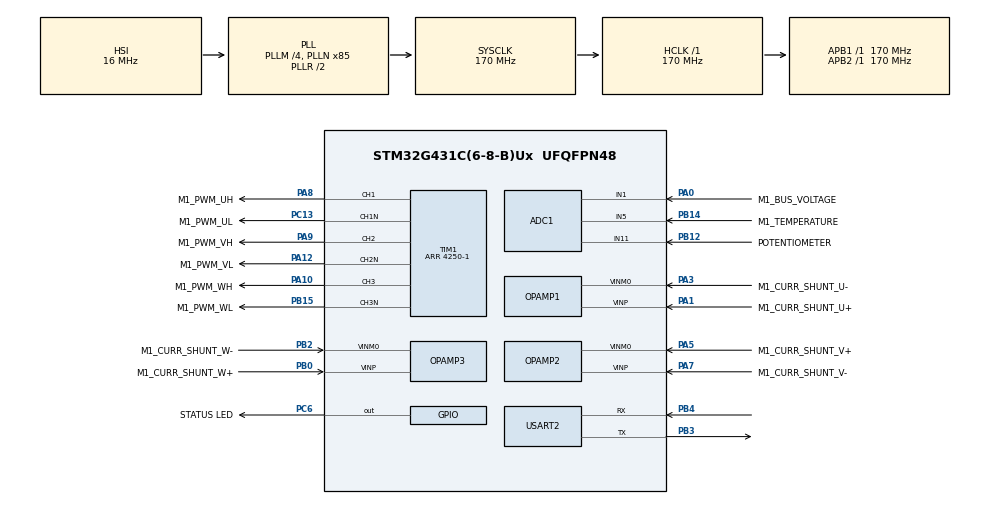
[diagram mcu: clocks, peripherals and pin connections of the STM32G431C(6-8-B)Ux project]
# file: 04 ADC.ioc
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ADC1.Channel-0\#ChannelRegularConversion=ADC_CHANNEL_1
ADC1.Channel-1\#ChannelRegularConversion=ADC_CHANNEL_5
ADC1.Channel-2\#ChannelRegularConversion=ADC_CHANNEL_VOPAMP1
ADC1.Channel-3\#ChannelRegularConversion=ADC_CHANNEL_11
ADC1.DMAContinuousRequests=ENABLE
ADC1.EOCSelection=ADC_EOC_SEQ_CONV
ADC1.ExternalTrigConv=ADC_EXTERNALTRIG_T1_TRGO2
ADC1.NbrOfConversion=4
ADC1.NbrOfConversionFlag=1
ADC1.OffsetNumber-0\#ChannelRegularConversion=ADC_OFFSET_NONE
ADC1.OffsetNumber-1\#ChannelRegularConversion=ADC_OFFSET_NONE
ADC1.OffsetNumber-2\#ChannelRegularConversion=ADC_OFFSET_NONE
ADC1.OffsetNumber-3\#ChannelRegularConversion=ADC_OFFSET_NONE
ADC1.Rank-0\#ChannelRegularConversion=1
ADC1.Rank-1\#ChannelRegularConversion=2
ADC1.Rank-2\#ChannelRegularConversion=3
ADC1.Rank-3\#ChannelRegularConversion=4
ADC1.SamplingTime-0\#ChannelRegularConversion=ADC_SAMPLETIME_47CYCLES_5
ADC1.SamplingTime-1\#ChannelRegularConversion=ADC_SAMPLETIME_47CYCLES_5
ADC1.SamplingTime-2\#ChannelRegularConversion=ADC_SAMPLETIME_12CYCLES_5
ADC1.SamplingTime-3\#ChannelRegularConversion=ADC_SAMPLETIME_47CYCLES_5
ADC1.master=1
ADC2.Channel-0\#ChannelRegularConversion=ADC_CHANNEL_VOPAMP2
ADC2.Channel-1\#ChannelRegularConversion=ADC_CHANNEL_VOPAMP3_ADC2
ADC2.DMAContinuousRequests=ENABLE
ADC2.EOCSelection=ADC_EOC_SEQ_CONV
ADC2.EnableAnalogWatchDog3=false
ADC2.ExternalTrigConv=ADC_EXTERNALTRIG_T1_TRGO2
ADC2.NbrOfConversion=2
ADC2.NbrOfConversionFlag=1
ADC2.OffsetNumber-0\#ChannelRegularConversion=ADC_OFFSET_NONE
ADC2.OffsetNumber-1\#ChannelRegularConversion=ADC_OFFSET_NONE
ADC2.Rank-0\#ChannelRegularConversion=1
ADC2.Rank-1\#ChannelRegularConversion=2
ADC2.SamplingTime-0\#ChannelRegularConversion=ADC_SAMPLETIME_12CYCLES_5
ADC2.SamplingTime-1\#ChannelRegularConversion=ADC_SAMPLETIME_12CYCLES_5
Dma.ADC1.2.Direction=DMA_PERIPH_TO_MEMORY
Dma.ADC1.2.EventEnable=DISABLE
Dma.ADC1.2.Instance=DMA1_Channel3
Dma.ADC1.2.MemDataAlignment=DMA_MDATAALIGN_HALFWORD
Dma.ADC1.2.MemInc=DMA_MINC_ENABLE
Dma.ADC1.2.Mode=DMA_CIRCULAR
Dma.ADC1.2.PeriphDataAlignment=DMA_PDATAALIGN_HALFWORD
Dma.ADC1.2.PeriphInc=DMA_PINC_DISABLE
Dma.ADC1.2.Polarity=HAL_DMAMUX_REQ_GEN_RISING
Dma.ADC1.2.Priority=DMA_PRIORITY_HIGH
Dma.ADC1.2.RequestNumber=1
Dma.ADC1.2.SignalID=NONE
Dma.ADC1.2.SyncEnable=DISABLE
Dma.ADC1.2.SyncPolarity=HAL_DMAMUX_SYNC_NO_EVENT
Dma.ADC1.2.SyncRequestNumber=1
Dma.ADC1.2.SyncSignalID=NONE
Dma.ADC2.3.Direction=DMA_PERIPH_TO_MEMORY
Dma.ADC2.3.EventEnable=DISABLE
Dma.ADC2.3.Instance=DMA1_Channel4
Dma.ADC2.3.MemDataAlignment=DMA_MDATAALIGN_HALFWORD
Dma.ADC2.3.MemInc=DMA_MINC_ENABLE
Dma.ADC2.3.Mode=DMA_CIRCULAR
Dma.ADC2.3.PeriphDataAlignment=DMA_PDATAALIGN_HALFWORD
Dma.ADC2.3.PeriphInc=DMA_PINC_DISABLE
Dma.ADC2.3.Polarity=HAL_DMAMUX_REQ_GEN_RISING
Dma.ADC2.3.Priority=DMA_PRIORITY_LOW
Dma.ADC2.3.RequestNumber=1
Dma.ADC2.3.SignalID=NONE
Dma.ADC2.3.SyncEnable=DISABLE
Dma.ADC2.3.SyncPolarity=HAL_DMAMUX_SYNC_NO_EVENT
Dma.ADC2.3.SyncRequestNumber=1
Dma.ADC2.3.SyncSignalID=NONE
Dma.Request0=USART2_RX
Dma.Request1=USART2_TX
Dma.Request2=ADC1
Dma.Request3=ADC2
Dma.USART2_RX.0.Direction=DMA_PERIPH_TO_MEMORY
Dma.USART2_RX.0.EventEnable=DISABLE
Dma.USART2_RX.0.Instance=DMA1_Channel1
Dma.USART2_RX.0.MemDataAlignment=DMA_MDATAALIGN_BYTE
Dma.USART2_RX.0.MemInc=DMA_MINC_ENABLE
Dma.USART2_RX.0.Mode=DMA_CIRCULAR
Dma.USART2_RX.0.PeriphDataAlignment=DMA_PDATAALIGN_BYTE
Dma.USART2_RX.0.PeriphInc=DMA_PINC_DISABLE
Dma.USART2_RX.0.Polarity=HAL_DMAMUX_REQ_GEN_RISING
Dma.USART2_RX.0.Priority=DMA_PRIORITY_LOW
Dma.USART2_RX.0.RequestNumber=1
Dma.USART2_RX.0.SignalID=NONE
Dma.USART2_RX.0.SyncEnable=DISABLE
Dma.USART2_RX.0.SyncPolarity=HAL_DMAMUX_SYNC_NO_EVENT
Dma.USART2_RX.0.SyncRequestNumber=1
Dma.USART2_RX.0.SyncSignalID=NONE
Dma.USART2_TX.1.Direction=DMA_MEMORY_TO_PERIPH
Dma.USART2_TX.1.EventEnable=DISABLE
Dma.USART2_TX.1.Instance=DMA1_Channel2
Dma.USART2_TX.1.MemDataAlignment=DMA_MDATAALIGN_BYTE
Dma.USART2_TX.1.MemInc=DMA_MINC_ENABLE
Dma.USART2_TX.1.Mode=DMA_NORMAL
Dma.USART2_TX.1.PeriphDataAlignment=DMA_PDATAALIGN_BYTE
Dma.USART2_TX.1.PeriphInc=DMA_PINC_DISABLE
Dma.USART2_TX.1.Polarity=HAL_DMAMUX_REQ_GEN_RISING
Dma.USART2_TX.1.Priority=DMA_PRIORITY_LOW
Dma.USART2_TX.1.RequestNumber=1
Dma.USART2_TX.1.SignalID=NONE
Dma.USART2_TX.1.SyncEnable=DISABLE
Dma.USART2_TX.1.SyncPolarity=HAL_DMAMUX_SYNC_NO_EVENT
Dma.USART2_TX.1.SyncRequestNumber=1
Dma.USART2_TX.1.SyncSignalID=NONE
Mcu.Family=STM32G4
Mcu.Name=STM32G431C(6-8-B)Ux
Mcu.Package=UFQFPN48
NVIC.ADC1_2_IRQn=true\:0\:0\:false\:false\:true\:true\:true\:true
NVIC.DMA1_Channel1_IRQn=true\:0\:0\:false\:false\:true\:false\:true\:true
NVIC.DMA1_Channel2_IRQn=true\:0\:0\:false\:false\:true\:false\:true\:true
NVIC.DMA1_Channel3_IRQn=true\:0\:0\:false\:false\:true\:false\:true\:true
NVIC.DMA1_Channel4_IRQn=true\:0\:0\:false\:false\:true\:false\:true\:true
NVIC.PriorityGroup=NVIC_PRIORITYGROUP_4
NVIC.TIM1_UP_TIM16_IRQn=true\:0\:0\:false\:false\:true\:true\:true\:true
NVIC.USART2_IRQn=true\:0\:0\:false\:false\:true\:true\:true\:true
OPAMP1.PgaGain=OPAMP_PGA_GAIN_16_OR_MINUS_15
OPAMP2.PgaGain=OPAMP_PGA_GAIN_16_OR_MINUS_15
OPAMP3.PgaGain=OPAMP_PGA_GAIN_16_OR_MINUS_15
PA0.GPIO_Label=M1_BUS_VOLTAGE
PA0.Mode=IN1-Single-Ended
PA0.Signal=ADC1_IN1
PA1.GPIO_Label=M1_CURR_SHUNT_U+
PA1.Mode=PGA Internally connected_IO0_BIAS
PA1.Signal=OPAMP1_VINP
PA10.GPIO_Label=M1_PWM_WH
PA10.Signal=S_TIM1_CH3
PA12.GPIO_Label=M1_PWM_VL
PA12.Mode=PWM Generation2 CH2 CH2N
PA12.Signal=TIM1_CH2N
PA3.GPIO_Label=M1_CURR_SHUNT_U-
PA3.Mode=PGA Internally connected_IO0_BIAS
PA3.Signal=OPAMP1_VINM0
PA5.GPIO_Label=M1_CURR_SHUNT_V+
PA5.Mode=PGA Internally connected_IO0_BIAS
PA5.Signal=OPAMP2_VINM0
PA7.GPIO_Label=M1_CURR_SHUNT_V-
PA7.Mode=PGA Internally connected_IO0_BIAS
PA7.Signal=OPAMP2_VINP
PA8.GPIO_Label=M1_PWM_UH
PA8.Signal=S_TIM1_CH1
PA9.GPIO_Label=M1_PWM_VH
PA9.Signal=S_TIM1_CH2
PB0.GPIO_Label=M1_CURR_SHUNT_W+
PB0.Mode=PGA Internally connected_IO0_BIAS
PB0.Signal=OPAMP3_VINP
PB12.GPIO_Label=POTENTIOMETER
PB12.Mode=IN11-Single-Ended
PB12.Signal=ADC1_IN11
PB14.GPIO_Label=M1_TEMPERATURE
PB14.Mode=IN5-Single-Ended
PB14.Signal=ADC1_IN5
PB15.GPIO_Label=M1_PWM_WL
PB15.Mode=PWM Generation3 CH3 CH3N
PB15.Signal=TIM1_CH3N
PB2.GPIO_Label=M1_CURR_SHUNT_W-
PB2.Mode=PGA Internally connected_IO0_BIAS
PB2.Signal=OPAMP3_VINM0
PB3.Mode=Asynchronous
PB3.Signal=USART2_TX
PB4.Mode=Asynchronous
PB4.Signal=USART2_RX
PC13.GPIO_Label=M1_PWM_UL
PC13.Mode=PWM Generation1 CH1 CH1N
PC13.Signal=TIM1_CH1N
PC6.GPIO_Label=STATUS LED
PC6.Signal=GPIO_Output
PF0-OSC_IN.Mode=HSE-External-Oscillator
PF0-OSC_IN.Signal=RCC_OSC_IN
PF1-OSC_OUT.Mode=HSE-External-Oscillator
PF1-OSC_OUT.Signal=RCC_OSC_OUT
ProjectManager.HeapSize=0x200
ProjectManager.StackSize=0x400
ProjectManager.TargetToolchain=STM32CubeIDE
RCC.ADC12Freq_Value=170000000
RCC.AHBFreq_Value=170000000
RCC.APB1Freq_Value=170000000
RCC.APB1TimFreq_Value=170000000
RCC.APB2Freq_Value=170000000
RCC.APB2TimFreq_Value=170000000
RCC.CortexFreq_Value=170000000
RCC.EXTERNAL_CLOCK_VALUE=12288000
RCC.HCLKFreq_Value=170000000
RCC.HSE_VALUE=8000000
RCC.HSI48_VALUE=48000000
RCC.HSI_VALUE=16000000
RCC.LSE_VALUE=32768
RCC.PLLM=RCC_PLLM_DIV4
RCC.PLLN=85
RCC.SYSCLKFreq_VALUE=170000000
RCC.SYSCLKSource=RCC_SYSCLKSOURCE_PLLCLK
RCC.USBFreq_Value=170000000
RCC.VCOOutputFreq_Value=340000000
SH.S_TIM1_CH1.0=TIM1_CH1,PWM Generation1 CH1 CH1N
SH.S_TIM1_CH2.0=TIM1_CH2,PWM Generation2 CH2 CH2N
SH.S_TIM1_CH3.0=TIM1_CH3,PWM Generation3 CH3 CH3N
TIM1.Channel-PWM\ Generation1\ CH1\ CH1N=TIM_CHANNEL_1
TIM1.Channel-PWM\ Generation2\ CH2\ CH2N=TIM_CHANNEL_2
TIM1.Channel-PWM\ Generation3\ CH3\ CH3N=TIM_CHANNEL_3
TIM1.Channel-PWM\ Generation4\ No\ Output=TIM_CHANNEL_4
TIM1.CounterMode=TIM_COUNTERMODE_CENTERALIGNED3
TIM1.DeadTime=100
TIM1.PeriodNoDither=4250-1
TIM1.PulseNoDither_1=(4250-1)*3/4
TIM1.PulseNoDither_2=(4250-1)*2/4
TIM1.PulseNoDither_3=(4250-1)*1/4
TIM1.PulseNoDither_4=(4250-1)*9/10
TIM1.TIM_MasterOutputTrigger=TIM_TRGO_RESET
TIM1.TIM_MasterOutputTrigger2=TIM_TRGO2_OC4REF
USART2.VirtualMode-Asynchronous=VM_ASYNC
VP_ADC1_OPAMP_INTERNAL1.Mode=IN-OPAMP1
VP_ADC2_OPAMP_INTERNAL2.Mode=IN-OPAMP2
VP_ADC2_OPAMP_INTERNAL3.Mode=IN-OPAMP3
VP_SYS_VS_DBSignals.Mode=DisableDeadBatterySignals
VP_TIM1_VS_ClockSourceINT.Mode=Internal
VP_TIM1_VS_no_output4.Mode=PWM Generation4 No Output
board=custom

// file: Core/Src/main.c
/* USER CODE BEGIN Header */
/**
  ******************************************************************************
  * @file           : main.c
  * @brief          : Main program body
  ******************************************************************************
  * @attention
  *
  * Copyright (c) 2026 STMicroelectronics.
  * All rights reserved.
  *
  * This software is licensed under terms that can be found in the LICENSE file
  * in the root directory of this software component.
  * If no LICENSE file comes with this software, it is provided AS-IS.
  *
  ******************************************************************************
  */
/* USER CODE END Header */
#include "main.h"

/* USER CODE BEGIN Includes */
#include <stdio.h>

#include "serial.h"
#include "sensor.h"

/* USER CODE END Includes */

ADC_HandleTypeDef hadc1;
ADC_HandleTypeDef hadc2;
DMA_HandleTypeDef hdma_adc1;
DMA_HandleTypeDef hdma_adc2;

OPAMP_HandleTypeDef hopamp1;
OPAMP_HandleTypeDef hopamp2;
OPAMP_HandleTypeDef hopamp3;

TIM_HandleTypeDef htim1;

UART_HandleTypeDef huart2;
DMA_HandleTypeDef hdma_usart2_rx;
DMA_HandleTypeDef hdma_usart2_tx;

void SystemClock_Config(void);
static void MX_GPIO_Init(void);
static void MX_DMA_Init(void);
static void MX_USART2_UART_Init(void);
static void MX_TIM1_Init(void);
static void MX_ADC1_Init(void);
static void MX_OPAMP1_Init(void);
static void MX_OPAMP2_Init(void);
static void MX_OPAMP3_Init(void);
static void MX_ADC2_Init(void);

int main(void)
{

  /* MCU Configuration--------------------------------------------------------*/

  /* Reset of all peripherals, Initializes the Flash interface and the Systick. */
  HAL_Init();

  /* Configure the system clock */
  SystemClock_Config();

  /* Initialize all configured peripherals */
  MX_GPIO_Init();
  MX_DMA_Init();
  MX_USART2_UART_Init();
  MX_TIM1_Init();
  MX_ADC1_Init();
  MX_OPAMP1_Init();
  MX_OPAMP2_Init();
  MX_OPAMP3_Init();
  MX_ADC2_Init();
  /* USER CODE BEGIN 2 */

  // Start everything first (ADC, OPAMP, etc.)
  HAL_OPAMP_Start(&hopamp1);
  HAL_OPAMP_Start(&hopamp2);
  HAL_OPAMP_Start(&hopamp3);

  /* Calibration (Highly recommended for STM32G4) */
  HAL_ADCEx_Calibration_Start(&hadc1, ADC_SINGLE_ENDED);
  HAL_ADCEx_Calibration_Start(&hadc2, ADC_SINGLE_ENDED);

  /* Start the ADCs in DMA Mode NEXT */
  HAL_ADC_Start_DMA(&hadc1, (uint32_t *)ADC1_VAL, 4);
  HAL_ADC_Start_DMA(&hadc2, (uint32_t *)ADC2_VAL, 2);

  Calibrate_All_Offsets();

  /* START TIMER1 */
  HAL_TIM_PWM_Start(&htim1, TIM_CHANNEL_1);
  HAL_TIMEx_PWMN_Start(&htim1, TIM_CHANNEL_1);
  HAL_TIM_PWM_Start(&htim1, TIM_CHANNEL_2);
  HAL_TIMEx_PWMN_Start(&htim1, TIM_CHANNEL_2);
  HAL_TIM_PWM_Start(&htim1, TIM_CHANNEL_3);
  HAL_TIMEx_PWMN_Start(&htim1, TIM_CHANNEL_3);

  /* Start the channel using OC instead of PWM */
  HAL_TIM_OC_Start(&htim1, TIM_CHANNEL_4);

  HAL_TIM_Base_Start_IT(&htim1);				// for TIM16

  // Initialize your DMA UART framework
  UART_DMA_Init();
  UART_DMA_Printf("Enter target RPM: ");
  /* USER CODE END 2 */

  /* Infinite loop */
  /* USER CODE BEGIN WHILE */
  while (1)
  {
    // Continuously poll the buffer for user keyboard input
	  UART_ProcessCommands();

    /* USER CODE END WHILE */

  }
}

void SystemClock_Config(void)
{
  RCC_OscInitTypeDef RCC_OscInitStruct = {0};
  RCC_ClkInitTypeDef RCC_ClkInitStruct = {0};

  /** Configure the main internal regulator output voltage
  */
  HAL_PWREx_ControlVoltageScaling(PWR_REGULATOR_VOLTAGE_SCALE1_BOOST);

  /** Initializes the RCC Oscillators according to the specified parameters
  * in the RCC_OscInitTypeDef structure.
  */
  RCC_OscInitStruct.OscillatorType = RCC_OSCILLATORTYPE_HSI;
  RCC_OscInitStruct.HSIState = RCC_HSI_ON;
  RCC_OscInitStruct.HSICalibrationValue = RCC_HSICALIBRATION_DEFAULT;
  RCC_OscInitStruct.PLL.PLLState = RCC_PLL_ON;
  RCC_OscInitStruct.PLL.PLLSource = RCC_PLLSOURCE_HSI;
  RCC_OscInitStruct.PLL.PLLM = RCC_PLLM_DIV4;
  RCC_OscInitStruct.PLL.PLLN = 85;
  RCC_OscInitStruct.PLL.PLLP = RCC_PLLP_DIV2;
  RCC_OscInitStruct.PLL.PLLQ = RCC_PLLQ_DIV2;
  RCC_OscInitStruct.PLL.PLLR = RCC_PLLR_DIV2;
  if (HAL_RCC_OscConfig(&RCC_OscInitStruct) != HAL_OK)
  {
    Error_Handler();
  }

  /** Initializes the CPU, AHB and APB buses clocks
  */
  RCC_ClkInitStruct.ClockType = RCC_CLOCKTYPE_HCLK|RCC_CLOCKTYPE_SYSCLK
                              |RCC_CLOCKTYPE_PCLK1|RCC_CLOCKTYPE_PCLK2;
  RCC_ClkInitStruct.SYSCLKSource = RCC_SYSCLKSOURCE_PLLCLK;
  RCC_ClkInitStruct.AHBCLKDivider = RCC_SYSCLK_DIV1;
  RCC_ClkInitStruct.APB1CLKDivider = RCC_HCLK_DIV1;
  RCC_ClkInitStruct.APB2CLKDivider = RCC_HCLK_DIV1;

  if (HAL_RCC_ClockConfig(&RCC_ClkInitStruct, FLASH_LATENCY_4) != HAL_OK)
  {
    Error_Handler();
  }
}

static void MX_ADC1_Init(void)
{

  ADC_MultiModeTypeDef multimode = {0};
  ADC_ChannelConfTypeDef sConfig = {0};

  /** Common config
  */
  hadc1.Instance = ADC1;
  hadc1.Init.ClockPrescaler = ADC_CLOCK_SYNC_PCLK_DIV4;
  hadc1.Init.Resolution = ADC_RESOLUTION_12B;
  hadc1.Init.DataAlign = ADC_DATAALIGN_RIGHT;
  hadc1.Init.GainCompensation = 0;
  hadc1.Init.ScanConvMode = ADC_SCAN_ENABLE;
  hadc1.Init.EOCSelection = ADC_EOC_SEQ_CONV;
  hadc1.Init.LowPowerAutoWait = DISABLE;
  hadc1.Init.ContinuousConvMode = DISABLE;
  hadc1.Init.NbrOfConversion = 4;
  hadc1.Init.DiscontinuousConvMode = DISABLE;
  hadc1.Init.ExternalTrigConv = ADC_EXTERNALTRIG_T1_TRGO2;
  hadc1.Init.ExternalTrigConvEdge = ADC_EXTERNALTRIGCONVEDGE_RISING;
  hadc1.Init.DMAContinuousRequests = ENABLE;
  hadc1.Init.Overrun = ADC_OVR_DATA_PRESERVED;
  hadc1.Init.OversamplingMode = DISABLE;
  if (HAL_ADC_Init(&hadc1) != HAL_OK)
  {
    Error_Handler();
  }

  /** Configure the ADC multi-mode
  */
  multimode.Mode = ADC_MODE_INDEPENDENT;
  if (HAL_ADCEx_MultiModeConfigChannel(&hadc1, &multimode) != HAL_OK)
  {
    Error_Handler();
  }

  /** Configure Regular Channel
  */
  sConfig.Channel = ADC_CHANNEL_1;
  sConfig.Rank = ADC_REGULAR_RANK_1;
  sConfig.SamplingTime = ADC_SAMPLETIME_47CYCLES_5;
  sConfig.SingleDiff = ADC_SINGLE_ENDED;
  sConfig.OffsetNumber = ADC_OFFSET_NONE;
  sConfig.Offset = 0;
  if (HAL_ADC_ConfigChannel(&hadc1, &sConfig) != HAL_OK)
  {
    Error_Handler();
  }

  /** Configure Regular Channel
  */
  sConfig.Channel = ADC_CHANNEL_5;
  sConfig.Rank = ADC_REGULAR_RANK_2;
  if (HAL_ADC_ConfigChannel(&hadc1, &sConfig) != HAL_OK)
  {
    Error_Handler();
  }

  /** Configure Regular Channel
  */
  sConfig.Channel = ADC_CHANNEL_VOPAMP1;
  sConfig.Rank = ADC_REGULAR_RANK_3;
  sConfig.SamplingTime = ADC_SAMPLETIME_12CYCLES_5;
  if (HAL_ADC_ConfigChannel(&hadc1, &sConfig) != HAL_OK)
  {
    Error_Handler();
  }

  /** Configure Regular Channel
  */
  sConfig.Channel = ADC_CHANNEL_11;
  sConfig.Rank = ADC_REGULAR_RANK_4;
  sConfig.SamplingTime = ADC_SAMPLETIME_47CYCLES_5;
  if (HAL_ADC_ConfigChannel(&hadc1, &sConfig) != HAL_OK)
  {
    Error_Handler();
  }

}

static void MX_ADC2_Init(void)
{

  ADC_ChannelConfTypeDef sConfig = {0};

  /** Common config
  */
  hadc2.Instance = ADC2;
  hadc2.Init.ClockPrescaler = ADC_CLOCK_SYNC_PCLK_DIV4;
  hadc2.Init.Resolution = ADC_RESOLUTION_12B;
  hadc2.Init.DataAlign = ADC_DATAALIGN_RIGHT;
  hadc2.Init.GainCompensation = 0;
  hadc2.Init.ScanConvMode = ADC_SCAN_ENABLE;
  hadc2.Init.EOCSelection = ADC_EOC_SEQ_CONV;
  hadc2.Init.LowPowerAutoWait = DISABLE;
  hadc2.Init.ContinuousConvMode = DISABLE;
  hadc2.Init.NbrOfConversion = 2;
  hadc2.Init.DiscontinuousConvMode = DISABLE;
  hadc2.Init.ExternalTrigConv = ADC_EXTERNALTRIG_T1_TRGO2;
  hadc2.Init.ExternalTrigConvEdge = ADC_EXTERNALTRIGCONVEDGE_RISING;
  hadc2.Init.DMAContinuousRequests = ENABLE;
  hadc2.Init.Overrun = ADC_OVR_DATA_PRESERVED;
  hadc2.Init.OversamplingMode = DISABLE;
  if (HAL_ADC_Init(&hadc2) != HAL_OK)
  {
    Error_Handler();
  }

  /** Configure Regular Channel
  */
  sConfig.Channel = ADC_CHANNEL_VOPAMP2;
  sConfig.Rank = ADC_REGULAR_RANK_1;
  sConfig.SamplingTime = ADC_SAMPLETIME_12CYCLES_5;
  sConfig.SingleDiff = ADC_SINGLE_ENDED;
  sConfig.OffsetNumber = ADC_OFFSET_NONE;
  sConfig.Offset = 0;
  if (HAL_ADC_ConfigChannel(&hadc2, &sConfig) != HAL_OK)
  {
    Error_Handler();
  }

  /** Configure Regular Channel
  */
  sConfig.Channel = ADC_CHANNEL_VOPAMP3_ADC2;
  sConfig.Rank = ADC_REGULAR_RANK_2;
  if (HAL_ADC_ConfigChannel(&hadc2, &sConfig) != HAL_OK)
  {
    Error_Handler();
  }

}

static void MX_OPAMP1_Init(void)
{

  hopamp1.Instance = OPAMP1;
  hopamp1.Init.PowerMode = OPAMP_POWERMODE_NORMALSPEED;
  hopamp1.Init.Mode = OPAMP_PGA_MODE;
  hopamp1.Init.NonInvertingInput = OPAMP_NONINVERTINGINPUT_IO0;
  hopamp1.Init.InternalOutput = ENABLE;
  hopamp1.Init.TimerControlledMuxmode = OPAMP_TIMERCONTROLLEDMUXMODE_DISABLE;
  hopamp1.Init.PgaConnect = OPAMP_PGA_CONNECT_INVERTINGINPUT_IO0_BIAS;
  hopamp1.Init.PgaGain = OPAMP_PGA_GAIN_16_OR_MINUS_15;
  hopamp1.Init.UserTrimming = OPAMP_TRIMMING_FACTORY;
  if (HAL_OPAMP_Init(&hopamp1) != HAL_OK)
  {
    Error_Handler();
  }

}

static void MX_OPAMP2_Init(void)
{

  hopamp2.Instance = OPAMP2;
  hopamp2.Init.PowerMode = OPAMP_POWERMODE_NORMALSPEED;
  hopamp2.Init.Mode = OPAMP_PGA_MODE;
  hopamp2.Init.NonInvertingInput = OPAMP_NONINVERTINGINPUT_IO0;
  hopamp2.Init.InternalOutput = ENABLE;
  hopamp2.Init.TimerControlledMuxmode = OPAMP_TIMERCONTROLLEDMUXMODE_DISABLE;
  hopamp2.Init.PgaConnect = OPAMP_PGA_CONNECT_INVERTINGINPUT_IO0_BIAS;
  hopamp2.Init.PgaGain = OPAMP_PGA_GAIN_16_OR_MINUS_15;
  hopamp2.Init.UserTrimming = OPAMP_TRIMMING_FACTORY;
  if (HAL_OPAMP_Init(&hopamp2) != HAL_OK)
  {
    Error_Handler();
  }

}

static void MX_OPAMP3_Init(void)
{

  hopamp3.Instance = OPAMP3;
  hopamp3.Init.PowerMode = OPAMP_POWERMODE_NORMALSPEED;
  hopamp3.Init.Mode = OPAMP_PGA_MODE;
  hopamp3.Init.NonInvertingInput = OPAMP_NONINVERTINGINPUT_IO0;
  hopamp3.Init.InternalOutput = ENABLE;
  hopamp3.Init.TimerControlledMuxmode = OPAMP_TIMERCONTROLLEDMUXMODE_DISABLE;
  hopamp3.Init.PgaConnect = OPAMP_PGA_CONNECT_INVERTINGINPUT_IO0_BIAS;
  hopamp3.Init.PgaGain = OPAMP_PGA_GAIN_16_OR_MINUS_15;
  hopamp3.Init.UserTrimming = OPAMP_TRIMMING_FACTORY;
  if (HAL_OPAMP_Init(&hopamp3) != HAL_OK)
  {
    Error_Handler();
  }

}

static void MX_TIM1_Init(void)
{

  TIM_ClockConfigTypeDef sClockSourceConfig = {0};
  TIM_MasterConfigTypeDef sMasterConfig = {0};
  TIM_OC_InitTypeDef sConfigOC = {0};
  TIM_BreakDeadTimeConfigTypeDef sBreakDeadTimeConfig = {0};

  htim1.Instance = TIM1;
  htim1.Init.Prescaler = 0;
  htim1.Init.CounterMode = TIM_COUNTERMODE_CENTERALIGNED3;
  htim1.Init.Period = 4249;
  htim1.Init.ClockDivision = TIM_CLOCKDIVISION_DIV1;
  htim1.Init.RepetitionCounter = 0;
  htim1.Init.AutoReloadPreload = TIM_AUTORELOAD_PRELOAD_DISABLE;
  if (HAL_TIM_Base_Init(&htim1) != HAL_OK)
  {
    Error_Handler();
  }
  sClockSourceConfig.ClockSource = TIM_CLOCKSOURCE_INTERNAL;
  if (HAL_TIM_ConfigClockSource(&htim1, &sClockSourceConfig) != HAL_OK)
  {
    Error_Handler();
  }
  if (HAL_TIM_PWM_Init(&htim1) != HAL_OK)
  {
    Error_Handler();
  }
  sMasterConfig.MasterOutputTrigger = TIM_TRGO_RESET;
  sMasterConfig.MasterOutputTrigger2 = TIM_TRGO2_OC4REF;
  sMasterConfig.MasterSlaveMode = TIM_MASTERSLAVEMODE_DISABLE;
  if (HAL_TIMEx_MasterConfigSynchronization(&htim1, &sMasterConfig) != HAL_OK)
  {
    Error_Handler();
  }
  sConfigOC.OCMode = TIM_OCMODE_PWM1;
  sConfigOC.Pulse = 3186;
  sConfigOC.OCPolarity = TIM_OCPOLARITY_HIGH;
  sConfigOC.OCNPolarity = TIM_OCNPOLARITY_HIGH;
  sConfigOC.OCFastMode = TIM_OCFAST_DISABLE;
  sConfigOC.OCIdleState = TIM_OCIDLESTATE_RESET;
  sConfigOC.OCNIdleState = TIM_OCNIDLESTATE_RESET;
  if (HAL_TIM_PWM_ConfigChannel(&htim1, &sConfigOC, TIM_CHANNEL_1) != HAL_OK)
  {
    Error_Handler();
  }
  sConfigOC.Pulse = 2124;
  if (HAL_TIM_PWM_ConfigChannel(&htim1, &sConfigOC, TIM_CHANNEL_2) != HAL_OK)
  {
    Error_Handler();
  }
  sConfigOC.Pulse = 1062;
  if (HAL_TIM_PWM_ConfigChannel(&htim1, &sConfigOC, TIM_CHANNEL_3) != HAL_OK)
  {
    Error_Handler();
  }
  sConfigOC.Pulse = 3824;
  if (HAL_TIM_PWM_ConfigChannel(&htim1, &sConfigOC, TIM_CHANNEL_4) != HAL_OK)
  {
    Error_Handler();
  }
  sBreakDeadTimeConfig.OffStateRunMode = TIM_OSSR_DISABLE;
  sBreakDeadTimeConfig.OffStateIDLEMode = TIM_OSSI_DISABLE;
  sBreakDeadTimeConfig.LockLevel = TIM_LOCKLEVEL_OFF;
  sBreakDeadTimeConfig.DeadTime = 100;
  sBreakDeadTimeConfig.BreakState = TIM_BREAK_DISABLE;
  sBreakDeadTimeConfig.BreakPolarity = TIM_BREAKPOLARITY_HIGH;
  sBreakDeadTimeConfig.BreakFilter = 0;
  sBreakDeadTimeConfig.BreakAFMode = TIM_BREAK_AFMODE_INPUT;
  sBreakDeadTimeConfig.Break2State = TIM_BREAK2_DISABLE;
  sBreakDeadTimeConfig.Break2Polarity = TIM_BREAK2POLARITY_HIGH;
  sBreakDeadTimeConfig.Break2Filter = 0;
  sBreakDeadTimeConfig.Break2AFMode = TIM_BREAK_AFMODE_INPUT;
  sBreakDeadTimeConfig.AutomaticOutput = TIM_AUTOMATICOUTPUT_DISABLE;
  if (HAL_TIMEx_ConfigBreakDeadTime(&htim1, &sBreakDeadTimeConfig) != HAL_OK)
  {
    Error_Handler();
  }
  HAL_TIM_MspPostInit(&htim1);

}

static void MX_USART2_UART_Init(void)
{

  huart2.Instance = USART2;
  huart2.Init.BaudRate = 115200;
  huart2.Init.WordLength = UART_WORDLENGTH_8B;
  huart2.Init.StopBits = UART_STOPBITS_1;
  huart2.Init.Parity = UART_PARITY_NONE;
  huart2.Init.Mode = UART_MODE_TX_RX;
  huart2.Init.HwFlowCtl = UART_HWCONTROL_NONE;
  huart2.Init.OverSampling = UART_OVERSAMPLING_16;
  huart2.Init.OneBitSampling = UART_ONE_BIT_SAMPLE_DISABLE;
  huart2.Init.ClockPrescaler = UART_PRESCALER_DIV1;
  huart2.AdvancedInit.AdvFeatureInit = UART_ADVFEATURE_NO_INIT;
  if (HAL_UART_Init(&huart2) != HAL_OK)
  {
    Error_Handler();
  }
  if (HAL_UARTEx_SetTxFifoThreshold(&huart2, UART_TXFIFO_THRESHOLD_1_8) != HAL_OK)
  {
    Error_Handler();
  }
  if (HAL_UARTEx_SetRxFifoThreshold(&huart2, UART_RXFIFO_THRESHOLD_1_8) != HAL_OK)
  {
    Error_Handler();
  }
  if (HAL_UARTEx_DisableFifoMode(&huart2) != HAL_OK)
  {
    Error_Handler();
  }

}

static void MX_DMA_Init(void)
{

  /* DMA controller clock enable */
  __HAL_RCC_DMAMUX1_CLK_ENABLE();
  __HAL_RCC_DMA1_CLK_ENABLE();

  /* DMA interrupt init */
  /* DMA1_Channel1_IRQn interrupt configuration */
  HAL_NVIC_SetPriority(DMA1_Channel1_IRQn, 0, 0);
  HAL_NVIC_EnableIRQ(DMA1_Channel1_IRQn);
  /* DMA1_Channel2_IRQn interrupt configuration */
  HAL_NVIC_SetPriority(DMA1_Channel2_IRQn, 0, 0);
  HAL_NVIC_EnableIRQ(DMA1_Channel2_IRQn);
  /* DMA1_Channel3_IRQn interrupt configuration */
  HAL_NVIC_SetPriority(DMA1_Channel3_IRQn, 0, 0);
  HAL_NVIC_EnableIRQ(DMA1_Channel3_IRQn);
  /* DMA1_Channel4_IRQn interrupt configuration */
  HAL_NVIC_SetPriority(DMA1_Channel4_IRQn, 0, 0);
  HAL_NVIC_EnableIRQ(DMA1_Channel4_IRQn);

}

static void MX_GPIO_Init(void)
{
  GPIO_InitTypeDef GPIO_InitStruct = {0};

  /* GPIO Ports Clock Enable */
  __HAL_RCC_GPIOC_CLK_ENABLE();
  __HAL_RCC_GPIOF_CLK_ENABLE();
  __HAL_RCC_GPIOA_CLK_ENABLE();
  __HAL_RCC_GPIOB_CLK_ENABLE();

  /*Configure GPIO pin Output Level */
  HAL_GPIO_WritePin(STATUS_LED_GPIO_Port, STATUS_LED_Pin, GPIO_PIN_RESET);

  /*Configure GPIO pin : STATUS_LED_Pin */
  GPIO_InitStruct.Pin = STATUS_LED_Pin;
  GPIO_InitStruct.Mode = GPIO_MODE_OUTPUT_PP;
  GPIO_InitStruct.Pull = GPIO_NOPULL;
  GPIO_InitStruct.Speed = GPIO_SPEED_FREQ_LOW;
  HAL_GPIO_Init(STATUS_LED_GPIO_Port, &GPIO_InitStruct);

}

void Error_Handler(void)
{
  __disable_irq();
  while (1)
  {
  }
}
